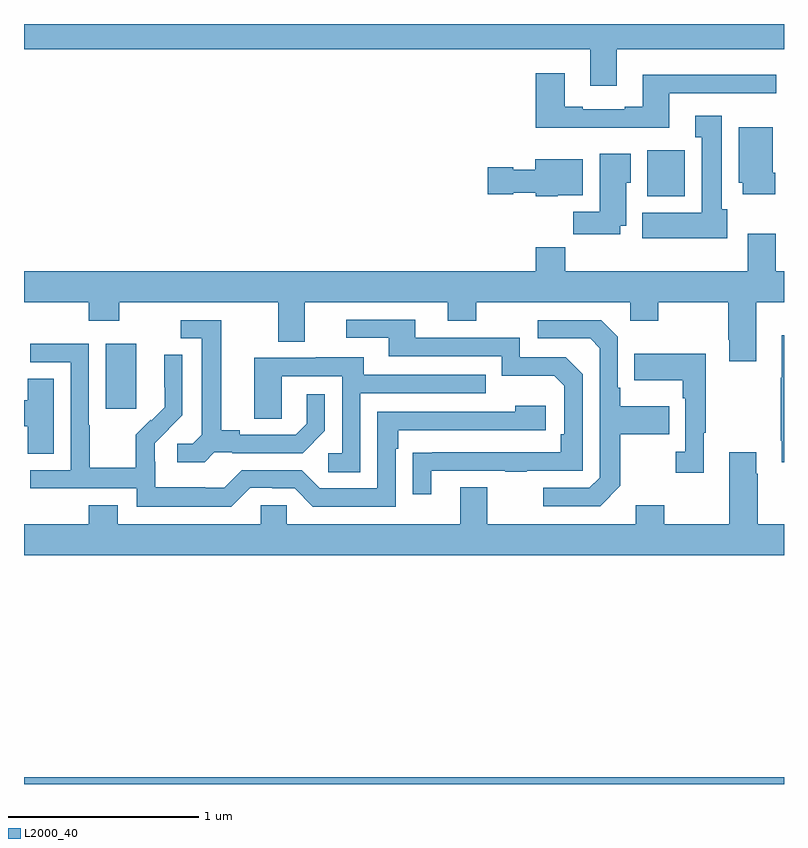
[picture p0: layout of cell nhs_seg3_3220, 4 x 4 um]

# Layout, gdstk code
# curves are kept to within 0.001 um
import gdstk
lib = gdstk.Library(unit=1e-6, precision=1e-09)
def R(c, l, rs):  # rectangles x0, y0, x1, y1
    for r in rs: c.add(gdstk.rectangle(r[:2], r[2:], *l))
def P(c, l, *ps):  # polygons
    for p in ps: c.add(gdstk.Polygon(p, *l))
L2000_40 = (2000, 40)

nhs_seg3_3220 = lib.new_cell('nhs_seg3_3220')
R(nhs_seg3_3220, L2000_40, [(279,678.4,283,678.436), (279.431,680.376,279.592,680.716), (282.281,681.494,282.478,681.736)])
P(nhs_seg3_3220, L2000_40, [(282.121,682.268),(283,682.268),(283,682.4),(279,682.4),(279,682.268),(281.981,682.268),(281.981,682.074),(282.121,682.074)],
  [(282.397,682.035),(282.958,682.035),(282.958,682.132),(282.257,682.132),(282.257,681.964),(282.161,681.964),(282.161,681.951),(281.941,681.951),(281.941,681.964),(281.845,681.964),(281.845,682.141),(281.693,682.141),(281.693,681.854),(282.397,681.854)],
  [(282.7,681.426),(282.673,681.426),(282.673,681.916),(282.533,681.916),(282.533,681.803),(282.566,681.803),(282.566,681.406),(282.254,681.406),(282.254,681.272),(282.7,681.272)],
  [(282.953,681.616),(282.94,681.616),(282.94,681.856),(282.761,681.856),(282.761,681.564),(282.782,681.564),(282.782,681.504),(282.953,681.504)],
  [(282.139,681.338),(282.169,681.338),(282.169,681.564),(282.193,681.564),(282.193,681.718),(282.029,681.718),(282.029,681.412),(281.89,681.412),(281.89,681.294),(282.139,681.294)],
  [(281.808,681.5),(281.941,681.5),(281.941,681.688),(281.69,681.688),(281.69,681.634),(281.574,681.634),(281.574,681.647),(281.442,681.647),(281.442,681.505),(281.574,681.505),(281.574,681.512),(281.694,681.512),(281.694,681.494),(281.808,681.494)],
  [(279,680.936),(279.341,680.936),(279.341,680.837),(279.501,680.837),(279.501,680.936),(280.337,680.936),(280.337,680.728),(280.477,680.728),(280.477,680.936),(281.231,680.936),(281.231,680.837),(281.379,680.837),(281.379,680.936),(282.192,680.936),(282.192,680.837),(282.339,680.837),(282.339,680.936),(282.706,680.936),(282.706,680.737),(282.713,680.737),(282.713,680.625),(282.853,680.625),(282.853,680.936),(283,680.936),(283,681.1),(282.957,681.1),(282.957,681.295),(282.809,681.295),(282.809,681.1),(281.849,681.1),(281.849,681.224),(281.693,681.224),(281.693,681.1),(279,681.1)],
  [(281.143,680.049),(281.533,680.049),(281.533,680.044),(281.645,680.044),(281.645,680.049),(281.94,680.049),(281.94,680.556),(281.85,680.646),(281.61,680.646),(281.61,680.748),(281.059,680.748),(281.059,680.844),(280.695,680.844),(280.695,680.748),(280.919,680.748),(280.919,680.652),(281.514,680.652),(281.514,680.549),(281.791,680.549),(281.844,680.496),(281.844,680.242),(281.824,680.242),(281.824,680.145),(281.047,680.144),(281.047,679.926),(281.143,679.926)],
  [(280.002,680.145),(280.096,680.145),(280.096,680.142),(280.468,680.142),(280.584,680.258),(280.584,680.452),(280.487,680.452),(280.487,680.295),(280.43,680.238),(280.135,680.238),(280.135,680.261),(280.039,680.261),(280.039,680.841),(279.825,680.841),(279.825,680.745),(279.935,680.745),(279.935,680.237),(279.888,680.19),(279.807,680.19),(279.807,680.093),(279.95,680.093)],
  [(282.139,679.969),(282.139,680.242),(282.395,680.242),(282.395,680.389),(282.139,680.389),(282.139,680.485),(282.126,680.485),(282.126,680.754),(282.039,680.841),(281.703,680.841),(281.703,680.745),(281.979,680.745),(282.03,680.694),(282.03,680.013),(281.976,679.959),(281.733,679.959),(281.733,679.863),(282.033,679.863)],
  [(283,680.761),(282.989,680.761),(282.989,680.537),(282.982,680.537),(282.982,680.206),(282.989,680.206),(282.989,680.094),(283,680.094)],
  [(280.191,679.959),(280.307,679.959),(280.307,679.956),(280.425,679.956),(280.521,679.86),(280.956,679.86),(280.956,680.165),(280.969,680.165),(280.969,680.262),(281.746,680.262),(281.746,680.392),(281.585,680.392),(281.585,680.358),(280.86,680.358),(280.86,679.956),(280.557,679.956),(280.461,680.052),(280.146,680.052),(280.053,679.959),(279.953,679.959),(279.953,679.963),(279.69,679.963),(279.69,680.097),(279.688,680.097),(279.688,680.194),(279.834,680.342),(279.834,680.66),(279.737,680.66),(279.737,680.488),(279.74,680.488),(279.74,680.384),(279.669,680.313),(279.666,680.316),(279.589,680.239),(279.589,680.065),(279.345,680.065),(279.345,680.288),(279.342,680.288),(279.342,680.718),(279.033,680.718),(279.033,680.619),(279.246,680.619),(279.246,680.052),(279.033,680.052),(279.033,679.956),(279.594,679.956),(279.594,679.859),(280.091,679.859)],
  [(282.577,680.249),(282.589,680.249),(282.589,680.665),(282.211,680.665),(282.211,680.525),(282.468,680.525),(282.468,680.429),(282.48,680.429),(282.48,680.15),(282.429,680.15),(282.429,680.037),(282.577,680.037)],
  [(280.77,680.457),(281.429,680.457),(281.429,680.553),(280.789,680.553),(280.789,680.647),(280.535,680.647),(280.535,680.643),(280.211,680.643),(280.211,680.323),(280.356,680.323),(280.356,680.547),(280.674,680.547),(280.674,680.142),(280.602,680.142),(280.602,680.041),(280.77,680.041)],
  [(279.157,680.534),(279.019,680.534),(279.019,680.42),(279,680.42),(279,680.284),(279.019,680.284),(279.019,680.137),(279.157,680.137)],
  [(283,679.768),(282.861,679.768),(282.861,680.033),(282.853,680.033),(282.853,680.146),(282.713,680.146),(282.713,679.768),(282.369,679.768),(282.369,679.867),(282.221,679.867),(282.221,679.768),(281.437,679.768),(281.437,679.963),(281.297,679.963),(281.297,679.768),(280.383,679.768),(280.383,679.866),(280.245,679.866),(280.245,679.768),(279.493,679.768),(279.493,679.867),(279.341,679.867),(279.341,679.768),(279,679.768),(279,679.604),(283,679.604)])

lib.write_gds('nhs_seg3_3220.gds')
